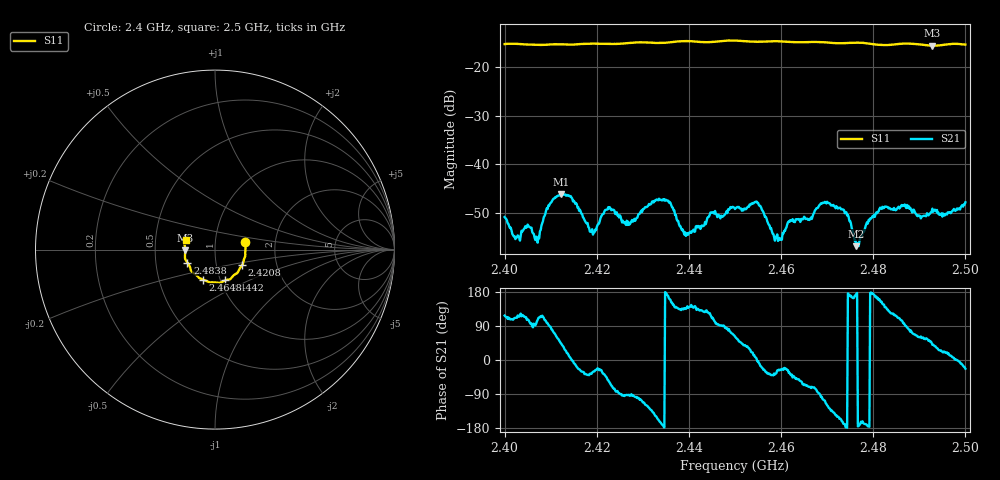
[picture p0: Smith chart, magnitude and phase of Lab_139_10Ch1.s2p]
# Hz S RI R 50
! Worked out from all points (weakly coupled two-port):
!   601 points, 2.4 GHz to 2.5 GHz, reference 50 ohm
!   highest |S21| = -46.19 dB at 2.4123 GHz (marker M1); lowest = -56.9 dB at 2.4763 GHz (marker M2)
!   lowest |S11| = -15.6 dB at 2.4928 GHz (marker M3), VSWR 1.40, Z = 35.8 - j0.347 ohm
!   |S11| at or under -10 dB: start of sweep to end of sweep
!   S12 and S22 are empty: the file has one direction only
!   S11 on the Smith chart (normalised r, x): 2.4 GHz: 1.40, +0.12; 2.4208 GHz: 1.33, -0.24; 2.4442 GHz: 1.05, -0.37; 2.4648 GHz: 0.83, -0.29; 2.4838 GHz: 0.73, -0.11; 2.5 GHz: 0.72, +0.08
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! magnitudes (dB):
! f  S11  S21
! 2.4 GHz  -15.3  -50.9
! 2.4022 GHz  -15.2  -54.9
! 2.407 GHz  -15.4  -55.6
! 2.4123 GHz  -15.3  -46.2
! 2.4167 GHz  -15.2  -50.2
! 2.419 GHz  -15.2  -53.4
! 2.4208 GHz  -15.2  -51.1
! 2.4268 GHz  -15.1  -51.9
! 2.4333 GHz  -15.0  -47.5
! 2.4393 GHz  -14.6  -54.8
! 2.4442 GHz  -14.9  -50.9
! 2.45 GHz  -14.5  -49.3
! 2.4548 GHz  -14.8  -48.0
! 2.4597 GHz  -14.7  -55.2
! 2.4648 GHz  -14.9  -51.3
! 2.4667 GHz  -14.8  -51.3
! 2.4732 GHz  -15.1  -49.3
! 2.4763 GHz  -15.0  -56.9
! 2.4833 GHz  -15.5  -49.1
! 2.4838 GHz  -15.4  -49.3
! 2.4928 GHz  -15.6  -49.2
! 2.5 GHz  -15.4  -47.9
